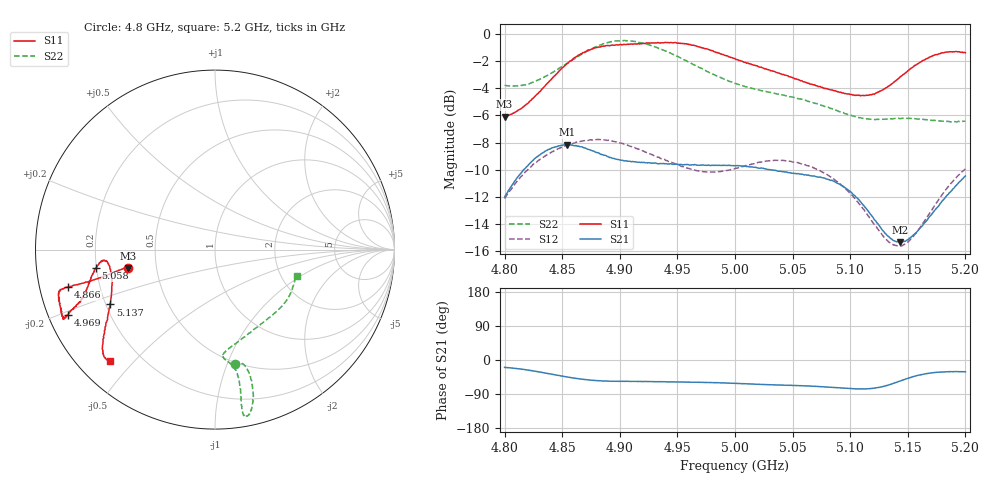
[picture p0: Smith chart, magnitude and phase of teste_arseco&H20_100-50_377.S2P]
! Network Analyzer HP8722D
! Hewlett-Packard
! Data name: Linha & Wilkinson
! Saver's name: Rodrigo Anjos
! Comments: Teste da utilização de aquisição
! continua pelo VNA HP8722D
! Time and date: 6/5/2025 15:42
!  Frequency  S11  S21  S12  S22
# HZ  S  MA R 50
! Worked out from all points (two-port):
!   401 points, 4.8 GHz to 5.2 GHz, reference 50 ohm
!   highest |S21| = -8.15 dB at 4.854 GHz (marker M1); lowest = -15.3 dB at 5.143 GHz (marker M2)
!   |S21| within 3 dB of the highest: 4.806 GHz to 5.092 GHz (286.2 MHz wide, 5.78 % of centre); 5.191994 GHz to end of sweep
!   lowest |S11| = -6.1 dB at 4.8 GHz (marker M3), VSWR 2.97, Z = 17 - j4.61 ohm
!   |S11| at or under -10 dB: nowhere
!   |S22| runs from -6.5 to -0.5 dB; largest |S21 - S12| = 0.62
!   S11 on the Smith chart (normalised r, x): 4.8 GHz: 0.34, -0.09; 4.866 GHz: 0.09, -0.13; 4.969 GHz: 0.06, -0.21; 5.058 GHz: 0.20, -0.07; 5.137 GHz: 0.22, -0.23; 5.2 GHz: 0.09, -0.43
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4.8e9  0.4965 -168.1  0.2508 -19.5  0.2478 -140.7  0.648 -80.3
4.828e9  0.5997 -167.0  0.3526 -30.5  0.3383 -144.6  0.6741 -75.4
4.854e9  0.7759 -165.8  0.3911 -44.7  0.3889 -149.7  0.7788 -74.7
4.866e9  0.8436 -165.6  0.384 -50.3  0.4023 -151.7  0.8378 -75.3
4.867e9  0.8467 -165.6  0.3845 -50.7  0.4031 -151.8  0.8427 -75.3
4.88e9  0.8906 -165.4  0.366 -54.6  0.4087 -154.0  0.9003 -76.6
4.899e9  0.9107 -162.9  0.3448 -56.5  0.3982 -156.6  0.9427 -78.9
4.934e9  0.9266 -156.3  0.3331 -57.5  0.3518 -155.5  0.8833 -80.3
4.969e9  0.8954 -156.2  0.3285 -58.8  0.3128 -147.3  0.7521 -79.7
5e9  0.811 -158.7  0.3273 -61.7  0.3198 -137.1  0.6573 -81.2
5.036e9  0.7216 -165.5  0.3141 -65.8  0.3425 -134.1  0.6022 -85.6
5.058e9  0.6723 -171.1  0.3047 -67.9  0.3323 -135.9  0.575 -84.5
5.067e9  0.6521 -173.0  0.3003 -69.1  0.3235 -136.6  0.5599 -82.7
5.084e9  0.6224 -174.5  0.2898 -72.2  0.2957 -138.2  0.5312 -76.2
5.101e9  0.5988 -172.0  0.2612 -75.7  0.2561 -138.7  0.5017 -66.6
5.116e9  0.5943 -165.5  0.2219 -75.8  0.2131 -135.5  0.4859 -55.8
5.134e9  0.6448 -154.2  0.1786 -65.4  0.171 -120.8  0.4862 -43.3
5.137e9  0.659 -152.4  0.1742 -62.4  0.1679 -116.9  0.487 -41.4
5.143e9  0.692 -149.2  0.1714 -55.9  0.1656 -109.1  0.4881 -38.1
5.156e9  0.7654 -143.7  0.1838 -42.7  0.1828 -92.9  0.4877 -31.5
5.173e9  0.8358 -138.7  0.2233 -33.3  0.2323 -80.7  0.4808 -24.2
5.2e9  0.8529 -133.5  0.2999 -31.3  0.3185 -76.8  0.4776 -17.7
